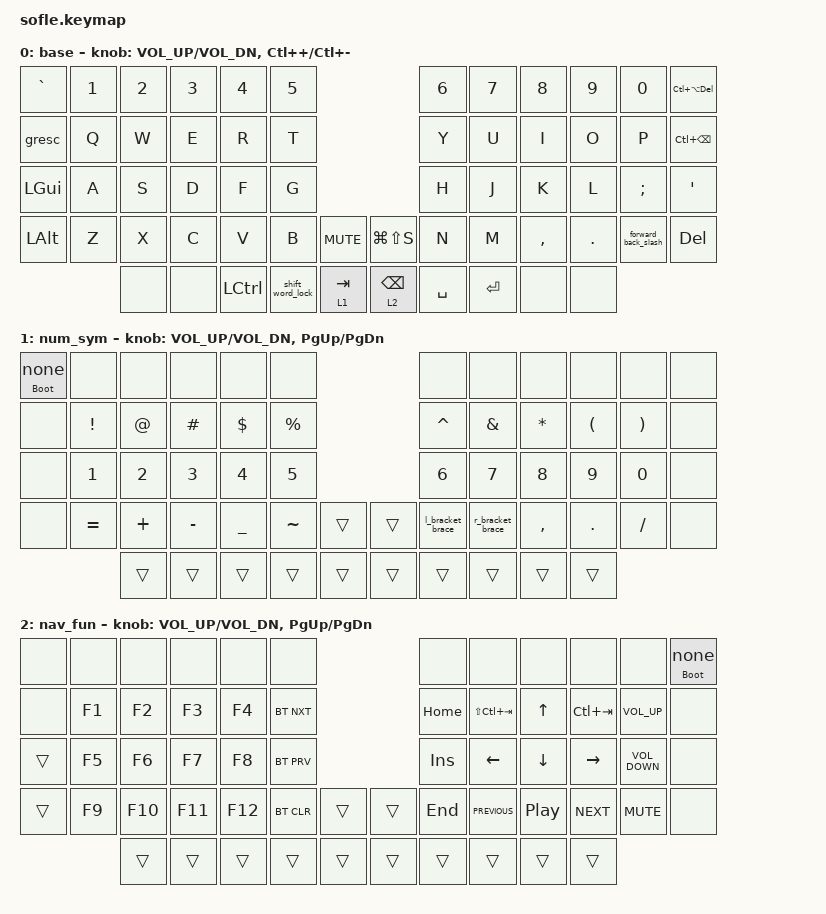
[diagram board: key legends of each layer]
/*
 * Copyright (c) 2020 The ZMK Contributors
 *
 * SPDX-License-Identifier: MIT
 */

#include <behaviors.dtsi>
#include <dt-bindings/zmk/bt.h>
#include <dt-bindings/zmk/keys.h>

#define BASE 0
#define LOWER 1
#define RAISE 2
#define ADJUST 3

/ {
    // Activate ADJUST layer by pressing raise and lower

    conditional_layers { compatible = "zmk,conditional-layers"; };

    behaviors {
        bspc_del: bspc_del {
            compatible = "zmk,behavior-mod-morph";
            label = "BSPC_DEL";
            bindings = <&kp BACKSPACE>, <&kp DELETE>;

            #binding-cells = <0>;
            mods = <(MOD_LSFT|MOD_RSFT)>;
        };

        lt_bspc_del: lt_bspc_del {
            compatible = "zmk,behavior-hold-tap";
            label = "LT_BSPC_DEL";
            bindings = <&mo>, <&bspc_del>;

            #binding-cells = <2>;
            tapping-term-ms = <200>;
            flavor = "hold-preferred";
            quick-tap-ms = <200>;
        };

        shift_word_lock: shift_word_lock {
            compatible = "zmk,behavior-tap-dance";
            label = "SHIFT_WORD_LOCK";
            #binding-cells = <0>;
            bindings = <&kp LEFT_SHIFT>, <&caps_word>, <&kp CAPSLOCK>;
        };

        forward_back_slash: forward_back_slash {
            compatible = "zmk,behavior-tap-dance";
            label = "FORWARD_BACK_SLASH";
            #binding-cells = <0>;
            bindings = <&kp FSLH>, <&kp BACKSLASH>;

            tapping-term-ms = <150>;
        };

        l_bracket_brace: l_bracket_brace {
            compatible = "zmk,behavior-tap-dance";
            label = "L_BRACKET_BRACE";
            #binding-cells = <0>;
            bindings = <&kp LEFT_BRACKET>, <&kp LEFT_BRACE>;

            tapping-term-ms = <150>;
        };

        r_bracket_brace: r_bracket_brace {
            compatible = "zmk,behavior-tap-dance";
            label = "R_BRACKET_BRACE";
            #binding-cells = <0>;
            bindings = <&kp RIGHT_BRACKET>, <&kp RIGHT_BRACE>;

            tapping-term-ms = <150>;
        };

        hold_bootloader: hold_bootloader {
            compatible = "zmk,behavior-hold-tap";
            label = "HOLD_BOOTLOADER";
            bindings = <&bootloader>, <&none>;

            #binding-cells = <2>;
            tapping-term-ms = <1000>;
            flavor = "tap-preferred";
        };
    };

    keymap {
        compatible = "zmk,keymap";

        base_layer {
            display-name = "base";

            // ------------------------------------------------------------------------------------------------------------
            // |   `   |  1  |  2  |  3   |  4   |  5   |                   |  6   |  7    |  8    |  9   |   0   |       |
            // |  ESC  |  Q  |  W  |  E   |  R   |  T   |                   |  Y   |  U    |  I    |  O   |   P   | BKSPC |
            // |  TAB  |  A  |  S  |  D   |  F   |  G   |                   |  H   |  J    |  K    |  L   |   ;   |   '   |
            // | SHIFT |  Z  |  X  |  C   |  V   |  B   |  MUTE  |  |       |  N   |  M    |  ,    |  .   |   /   | SHIFT |
            //               | GUI | ALT  | CTRL | LOWER|  ENTER |  | SPACE | RAISE| CTRL  | ALT   | GUI  |

            bindings = <
&kp GRAVE     &kp N1  &kp N2  &kp N3  &kp N4     &kp N5                                           &kp N6     &kp N7      &kp N8     &kp N9   &kp N0               &kp LC(LA(DELETE))
&gresc        &kp Q   &kp W   &kp E   &kp R      &kp T                                            &kp Y      &kp U       &kp I      &kp O    &kp P                &kp LC(BSPC)
&kp LEFT_GUI  &kp A   &kp S   &kp D   &kp F      &kp G                                            &kp H      &kp J       &kp K      &kp L    &kp SEMI             &kp SQT
&kp LEFT_ALT  &kp Z   &kp X   &kp C   &kp V      &kp B             &kp C_MUTE    &kp LG(LS(S))    &kp N      &kp M       &kp COMMA  &kp DOT  &forward_back_slash  &kp DELETE
                      &none   &none   &kp LCTRL  &shift_word_lock  &lt 1 TAB     &lt 2 BACKSPACE  &kp SPACE  &kp RETURN  &none      &none
            >;

            sensor-bindings =
                <&inc_dec_kp C_VOL_UP C_VOL_DN>,
                <&inc_dec_kp LC(PLUS) LC(MINUS)>;
        };

        num_sym_layer {
            display-name = "num_sym";

            // TODO: Some binds are waiting for shifted keycode support.
            // ------------------------------------------------------------------------------------------------------------
            // |       |  F1 |  F2 |  F3  |  F4  |  F5  |                   |  F6  |  F7   |  F8   |  F9  |  F10  |  F11  |
            // |   `   |  1  |  2  |  3   |  4   |  5   |                   |  6   |  7    |  8    |  9   |   0   |  F12  |
            // |       |  !  |  @  |  #   |  $   |  %   |                   |  ^   |  &    |  *    |  (   |   )   |   |   |
            // |       |  =  |  -  |  +   |  {   |  }   |        |  |       |  [   |  ]    |  ;    |  :   |   \   |       |
            //               |     |      |      |      |        |  |       |      |       |       |      |

            bindings = <
&hold_bootloader 0 0  &none         &none         &none         &none         &none                           &none             &none             &none         &none                 &none                  &none
&none                 &kp EXCL      &kp AT        &kp HASH      &kp DOLLAR    &kp PERCENT                     &kp CARET         &kp AMPS          &kp ASTRK     &kp LEFT_PARENTHESIS  &kp RIGHT_PARENTHESIS  &none
&none                 &kp NUMBER_1  &kp NUMBER_2  &kp NUMBER_3  &kp NUMBER_4  &kp NUMBER_5                    &kp NUMBER_6      &kp NUMBER_7      &kp NUMBER_8  &kp NUMBER_9          &kp NUMBER_0           &none
&none                 &kp EQUAL     &kp PLUS      &kp MINUS     &kp UNDER     &kp TILDE     &trans    &trans  &l_bracket_brace  &r_bracket_brace  &kp COMMA     &kp PERIOD            &kp SLASH              &none
                                    &trans        &trans        &trans        &trans        &trans    &trans  &trans            &trans            &trans        &trans
            >;

            sensor-bindings = <&inc_dec_kp C_VOL_UP C_VOL_DN &inc_dec_kp PG_UP PG_DN>;
        };

        nav_fun_layer {
            display-name = "nav_fun";

            // ------------------------------------------------------------------------------------------------------------
            // | BTCLR | BT1  | BT2  |  BT3  |  BT4  |  BT5 |                |      |      |       |      |       |       |
            // |       | INS  | PSCR | GUI   |       |      |                | PGUP |      |   ^   |      |       |       |
            // |       | ALT  | CTRL | SHIFT |       | CAPS |                | PGDN |   <- |   v   |  ->  |  DEL  | BKSPC |
            // |       | UNDO | CUT  | COPY  | PASTE |      |      |  |      |      |      |       |      |       |       |
            //                |      |       |       |      |      |  |      |      |      |       |      |

            bindings = <
&none   &none   &none    &none    &none    &none                         &none       &none            &none             &none        &none              &hold_bootloader 0 0
&none   &kp F1  &kp F2   &kp F3   &kp F4   &bt BT_NXT                    &kp HOME    &kp LS(LC(TAB))  &kp UP_ARROW      &kp LC(TAB)  &kp C_VOLUME_UP    &none
&trans  &kp F5  &kp F6   &kp F7   &kp F8   &bt BT_PRV                    &kp INSERT  &kp LEFT         &kp DOWN          &kp RIGHT    &kp C_VOLUME_DOWN  &none
&trans  &kp F9  &kp F10  &kp F11  &kp F12  &bt BT_CLR  &trans    &trans  &kp END     &kp C_PREVIOUS   &kp C_PLAY_PAUSE  &kp C_NEXT   &kp C_MUTE         &none
                &trans   &trans   &trans   &trans      &trans    &trans  &trans      &trans           &trans            &trans
            >;

            sensor-bindings = <&inc_dec_kp C_VOL_UP C_VOL_DN &inc_dec_kp PG_UP PG_DN>;
        };
    };
};
